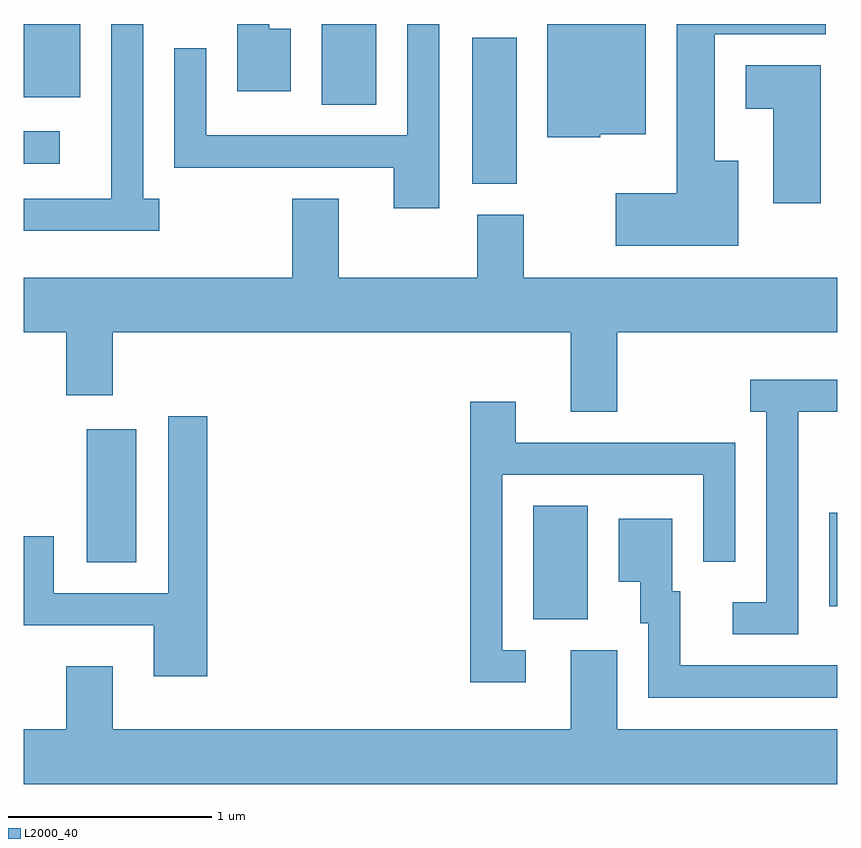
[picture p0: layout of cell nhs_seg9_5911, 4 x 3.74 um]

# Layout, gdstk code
import gdstk
lib = gdstk.Library(unit=1e-6, precision=1e-09)
def R(c, l, rs):  # rectangles x0, y0, x1, y1
    for r in rs: c.add(gdstk.rectangle(r[:2], r[2:], *l))
def P(c, l, *ps):  # polygons
    for p in ps: c.add(gdstk.Polygon(p, *l))
L2000_40 = (2000, 40)

nhs_seg9_5911 = lib.new_cell('nhs_seg9_5911')
R(nhs_seg9_5911, L2000_40, [(362.116,2001.506,362.384,2002.064), (363.571,2001.571,363.611,2002.029), (359.921,2001.786,360.164,2002.439), (361.816,2003.646,362.034,2004.364), (359.611,2003.746,359.788,2003.904), (361.076,2004.036,361.344,2004.432), (359.611,2004.071,359.889,2004.432)])
P(nhs_seg9_5911, L2000_40, [(361.654,2004.432),(361.496,2004.432),(361.496,2003.884),(360.509,2003.884),(360.509,2004.313),(360.351,2004.313),(360.351,2003.726),(361.431,2003.726),(361.431,2003.526),(361.654,2003.526)],
  [(360.924,2004.409),(360.819,2004.409),(360.819,2004.432),(360.661,2004.432),(360.661,2004.101),(360.924,2004.101)],
  [(362.445,2003.891),(362.669,2003.891),(362.669,2004.432),(362.186,2004.432),(362.186,2003.876),(362.445,2003.876)],
  [(360.278,2003.574),(360.199,2003.574),(360.199,2004.432),(360.041,2004.432),(360.041,2003.574),(359.611,2003.574),(359.611,2003.416),(360.278,2003.416)],
  [(363.124,2003.759),(363.009,2003.759),(363.009,2004.381),(363.554,2004.381),(363.554,2004.432),(362.821,2004.432),(362.821,2003.599),(362.521,2003.599),(362.521,2003.341),(363.124,2003.341)],
  [(363.529,2004.229),(363.161,2004.229),(363.161,2004.016),(363.296,2004.016),(363.296,2003.551),(363.529,2003.551)],
  [(362.529,2002.916),(363.611,2002.916),(363.611,2003.184),(362.069,2003.184),(362.069,2003.494),(361.841,2003.494),(361.841,2003.184),(361.159,2003.184),(361.159,2003.574),(360.931,2003.574),(360.931,2003.184),(359.611,2003.184),(359.611,2002.916),(359.821,2002.916),(359.821,2002.606),(360.049,2002.606),(360.049,2002.916),(362.301,2002.916),(362.301,2002.526),(362.529,2002.526)],
  [(363.419,2002.526),(363.611,2002.526),(363.611,2002.684),(363.183,2002.684),(363.183,2002.526),(363.261,2002.526),(363.261,2001.589),(363.098,2001.589),(363.098,2001.431),(363.419,2001.431)],
  [(362.078,2001.354),(361.964,2001.354),(361.964,2002.216),(362.951,2002.216),(362.951,2001.788),(363.109,2001.788),(363.109,2002.374),(362.029,2002.374),(362.029,2002.574),(361.806,2002.574),(361.806,2001.196),(362.078,2001.196)],
  [(360.514,2002.504),(360.321,2002.504),(360.321,2001.634),(359.759,2001.634),(359.759,2001.913),(359.611,2001.913),(359.611,2001.476),(360.251,2001.476),(360.251,2001.226),(360.514,2001.226)],
  [(363.611,2001.279),(362.839,2001.279),(362.839,2001.644),(362.799,2001.644),(362.799,2001.999),(362.536,2001.999),(362.536,2001.691),(362.641,2001.691),(362.641,2001.486),(362.681,2001.486),(362.681,2001.121),(363.611,2001.121)],
  [(359.821,2001.274),(359.821,2000.964),(359.611,2000.964),(359.611,2000.696),(363.611,2000.696),(363.611,2000.964),(362.529,2000.964),(362.529,2001.354),(362.301,2001.354),(362.301,2000.964),(360.049,2000.964),(360.049,2001.274)])

lib.write_gds('nhs_seg9_5911.gds')
